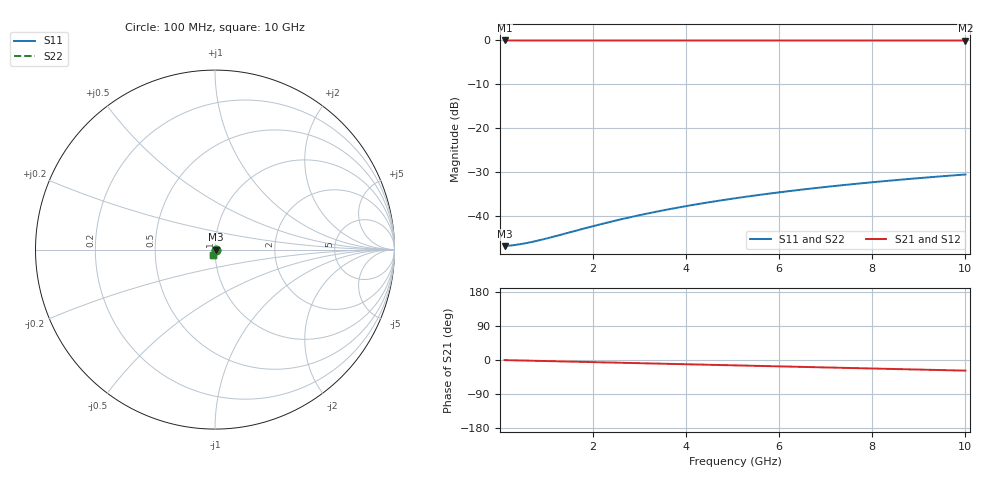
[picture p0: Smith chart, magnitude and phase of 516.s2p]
# Hz S RI R 50.00
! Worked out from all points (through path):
!   100 points, 100 MHz to 10 GHz, reference 50 ohm
!   highest |S21| = -0.04 dB at 100 MHz (marker M1); lowest = -0.1 dB at 10 GHz (marker M2)
!   group delay of S21, straight-line fit = 7.79 ps
!   lowest |S11| = -46.8 dB at 100 MHz (marker M3), VSWR 1.01, Z = 50.5 - j0.0328 ohm
!   |S11| at or under -10 dB: start of sweep to end of sweep
!   |S22| runs from -46.8 to -30.5 dB; largest |S21 - S12| = 0
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1e8  0.00453 -0.000325  0.9954 -0.00487  0.9954 -0.00487  0.00453 -0.000325
3e8  0.00457 -0.000977  0.9953 -0.0146  0.9953 -0.0146  0.00457 -0.000977
4e8  0.00457 -0.0013  0.9952 -0.0195  0.9952 -0.0195  0.00457 -0.0013
5e8  0.00457 -0.00163  0.9951 -0.0243  0.9951 -0.0243  0.00457 -0.00163
7e8  0.00456 -0.00228  0.9947 -0.0341  0.9947 -0.0341  0.00456 -0.00228
9e8  0.00452 -0.00293  0.9943 -0.0438  0.9943 -0.0438  0.00452 -0.00293
1.1e9  0.00448 -0.00358  0.9938 -0.0535  0.9938 -0.0535  0.00448 -0.00358
1.8e9  0.0042 -0.00585  0.9913 -0.0875  0.9913 -0.0875  0.0042 -0.00585
2.2e9  0.00397 -0.00713  0.9894 -0.1069  0.9894 -0.1069  0.00397 -0.00713
2.6e9  0.00369 -0.00841  0.9871 -0.1262  0.9871 -0.1262  0.00369 -0.00841
3e9  0.00336 -0.00967  0.9844 -0.1455  0.9844 -0.1455  0.00336 -0.00967
3.4e9  0.00298 -0.0109  0.9813 -0.1648  0.9813 -0.1648  0.00298 -0.0109
3.8e9  0.00255 -0.0122  0.9778 -0.1839  0.9778 -0.1839  0.00255 -0.0122
4.2e9  0.00207 -0.0134  0.974 -0.203  0.974 -0.203  0.00207 -0.0134
4.6e9  0.00155 -0.0146  0.9698 -0.2221  0.9698 -0.2221  0.00155 -0.0146
5.1e9  0.000827 -0.0161  0.964 -0.2457  0.964 -0.2457  0.000827 -0.0161
5.9e9  -0.000468 -0.0183  0.9535 -0.2833  0.9535 -0.2833  -0.000468 -0.0183
6.7e9  -0.00194 -0.0205  0.9416 -0.3204  0.9416 -0.3204  -0.00194 -0.0205
7.5e9  -0.00357 -0.0226  0.9282 -0.357  0.9282 -0.357  -0.00357 -0.0226
8.4e9  -0.00558 -0.0247  0.9114 -0.3975  0.9114 -0.3975  -0.00558 -0.0247
9.2e9  -0.00753 -0.0265  0.895 -0.4329  0.895 -0.4329  -0.00753 -0.0265
1e10  -0.0096 -0.0281  0.8772 -0.4677  0.8772 -0.4677  -0.0096 -0.0281
